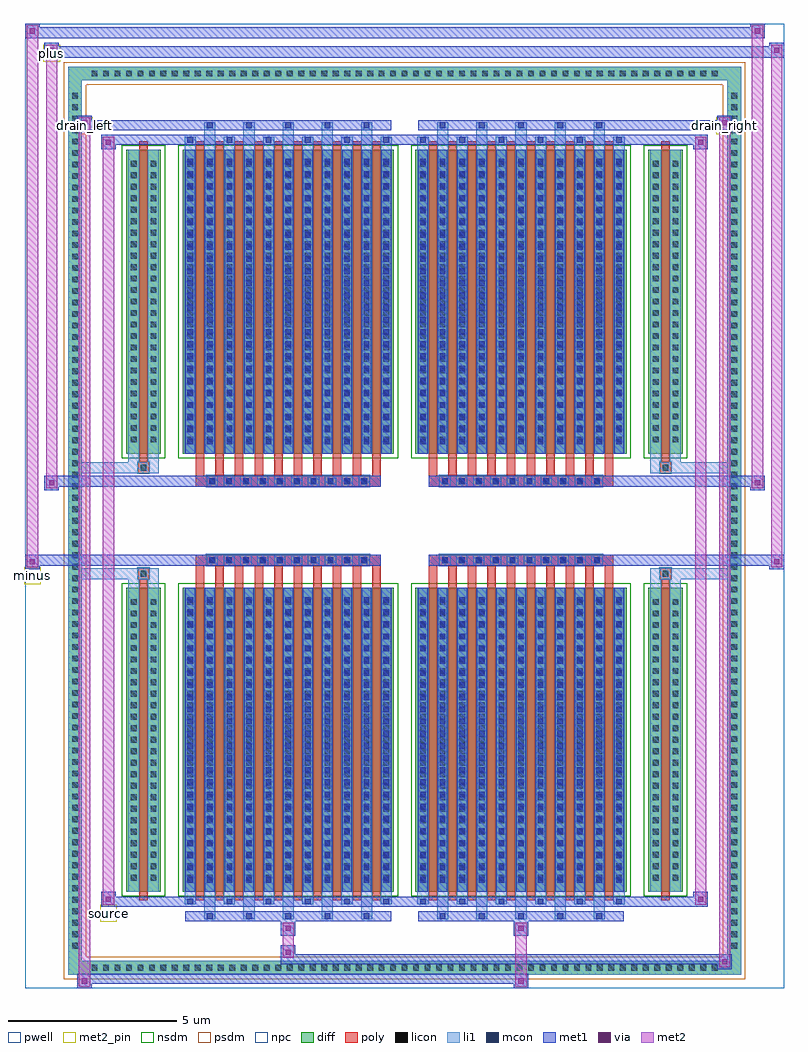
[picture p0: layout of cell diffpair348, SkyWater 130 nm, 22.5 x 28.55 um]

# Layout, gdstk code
import gdstk
lib = gdstk.Library(unit=1e-6, precision=5e-09)
def R(c, l, rs):  # rectangles x0, y0, x1, y1
    for r in rs: c.add(gdstk.rectangle(r[:2], r[2:], *l))
def A(c, l, x, y, w, h, nx, ny, dx, dy):  # array of equal rectangles
    R(c, l, [(x+i*dx, y+j*dy, x+i*dx+w, y+j*dy+h) for i in range(nx) for j in range(ny)])
def P(c, l, *ps):  # polygons
    for p in ps: c.add(gdstk.Polygon(p, *l))
pwell = (64, 44)
diff = (65, 20)
poly = (66, 20)
licon = (66, 44)
li1 = (67, 20)
mcon = (67, 44)
met1 = (68, 20)
via = (68, 44)
met2_pin = (69, 16)
met2 = (69, 20)
nsdm = (93, 44)
psdm = (94, 20)
npc = (95, 20)

diffpair348 = lib.new_cell('diffpair348')
R(diffpair348, pwell, [(-11.23,-13.84,11.23,14.71), (-8.55,-12.03,-0.01,-0.805), (0.01,-12.03,8.55,-0.805), (-8.55,0.805,-0.01,12.03), (0.01,0.805,8.55,12.03)])
A(diffpair348, diff, -9.385, -13.44, 0.41, 0.41, 55, 2, 0.34, 26.47)
A(diffpair348, diff, -9.96, -12.785, 0.41, 0.41, 1, 75, 0, 0.34)
A(diffpair348, diff, 9.55, -12.785, 0.41, 0.41, 1, 75, 0, 0.34)
R(diffpair348, diff, [(-9.385,-13.44,9.385,-13.03), (-9.96,-12.785,-9.55,12.785), (9.55,-12.785,9.96,12.785), (-8.24,-10.985,-7.21,-1.985), (-6.57,-10.985,-0.32,-1.985), (0.32,-10.985,6.57,-1.985), (7.21,-10.985,8.24,-1.985), (-8.24,1.985,-7.21,10.985), (-6.57,1.985,-0.32,10.985), (0.32,1.985,6.57,10.985), (7.21,1.985,8.24,10.985), (-9.385,13.03,9.385,13.44)])
P(diffpair348, diff, [(9.96,13.44),(-9.96,13.44),(-9.96,-13.03),(-9.55,-13.03),(-9.55,13.03),(9.55,13.03),(9.55,-13.03),(-9.55,-13.03),(-9.96,-13.03),(-9.96,-13.44),(9.96,-13.44)])
A(diffpair348, poly, -6.18, -11.235, 0.25, 9.5, 10, 2, 0.58, 12.97)
A(diffpair348, poly, 0.71, -11.235, 0.25, 9.5, 10, 2, 0.58, 12.97)
A(diffpair348, poly, -6.18, -1.735, 0.25, 0.4, 10, 2, 0.58, 3.07)
A(diffpair348, poly, 0.71, -1.735, 0.25, 0.4, 10, 2, 0.58, 3.07)
A(diffpair348, poly, -5.86, -1.335, 0.33, 0.33, 10, 2, 0.5, 2.34)
A(diffpair348, poly, 1.03, -1.335, 0.33, 0.33, 10, 2, 0.5, 2.34)
R(diffpair348, poly, [(-7.85,-11.235,-7.6,-1.735), (7.6,-11.235,7.85,-1.735), (-7.89,-1.735,-7.56,-1.405), (-7.89,-1.735,-7.56,-1.405), (7.56,-1.735,7.89,-1.405), (7.56,-1.735,7.89,-1.405), (-6.18,-1.335,-0.71,-1.005), (0.71,-1.335,6.18,-1.005), (-6.18,1.005,-0.71,1.335), (0.71,1.005,6.18,1.335), (-7.89,1.405,-7.56,1.735), (-7.89,1.405,-7.56,1.735), (7.56,1.405,7.89,1.735), (7.56,1.405,7.89,1.735), (-7.85,1.735,-7.6,11.235), (7.6,1.735,7.85,11.235)])
A(diffpair348, licon, -9.265, -13.32, 0.17, 0.17, 55, 2, 0.34, 26.47)
A(diffpair348, licon, -9.84, -12.665, 0.17, 0.17, 1, 75, 0, 0.34)
A(diffpair348, licon, 9.67, -12.665, 0.17, 0.17, 1, 75, 0, 0.34)
A(diffpair348, licon, -8.1, -10.65, 0.17, 0.17, 1, 25, 0, 0.34)
A(diffpair348, licon, -7.52, -10.65, 0.17, 0.17, 1, 25, 0, 0.34)
A(diffpair348, licon, -6.43, -10.65, 0.17, 0.17, 11, 25, 0.58, 0.34)
A(diffpair348, licon, 0.46, -10.65, 0.17, 0.17, 11, 25, 0.58, 0.34)
A(diffpair348, licon, 7.35, -10.65, 0.17, 0.17, 1, 25, 0, 0.34)
A(diffpair348, licon, 7.93, -10.65, 0.17, 0.17, 1, 25, 0, 0.34)
A(diffpair348, licon, -5.78, -1.255, 0.17, 0.17, 10, 2, 0.5, 2.34)
A(diffpair348, licon, 1.11, -1.255, 0.17, 0.17, 10, 2, 0.5, 2.34)
A(diffpair348, licon, -8.1, 2.32, 0.17, 0.17, 1, 25, 0, 0.34)
A(diffpair348, licon, -7.52, 2.32, 0.17, 0.17, 1, 25, 0, 0.34)
A(diffpair348, licon, -6.43, 2.32, 0.17, 0.17, 11, 25, 0.58, 0.34)
A(diffpair348, licon, 0.46, 2.32, 0.17, 0.17, 11, 25, 0.58, 0.34)
A(diffpair348, licon, 7.35, 2.32, 0.17, 0.17, 1, 25, 0, 0.34)
A(diffpair348, licon, 7.93, 2.32, 0.17, 0.17, 1, 25, 0, 0.34)
R(diffpair348, licon, [(-7.81,-1.655,-7.64,-1.485), (7.64,-1.655,7.81,-1.485), (-7.81,1.485,-7.64,1.655), (7.64,1.485,7.81,1.655)])
A(diffpair348, li1, -9.345, -13.4, 0.33, 0.33, 55, 2, 0.34, 26.47)
A(diffpair348, li1, -9.92, -12.745, 0.33, 0.33, 1, 75, 0, 0.34)
A(diffpair348, li1, 9.59, -12.745, 0.33, 0.33, 1, 75, 0, 0.34)
A(diffpair348, li1, -5.93, -11.79, 0.33, 0.805, 5, 2, 1.16, 22.775)
A(diffpair348, li1, -5.85, -11.79, 0.17, 0.17, 5, 2, 1.16, 23.41)
A(diffpair348, li1, 0.96, -11.79, 0.33, 0.805, 5, 2, 1.16, 22.775)
A(diffpair348, li1, 1.04, -11.79, 0.17, 0.17, 5, 2, 1.16, 23.41)
A(diffpair348, li1, -6.51, -11.36, 0.33, 0.375, 6, 2, 1.16, 22.345)
A(diffpair348, li1, -6.43, -11.36, 0.17, 0.17, 6, 2, 1.16, 22.55)
A(diffpair348, li1, 0.38, -11.36, 0.33, 0.375, 6, 2, 1.16, 22.345)
A(diffpair348, li1, 0.46, -11.36, 0.17, 0.17, 6, 2, 1.16, 22.55)
A(diffpair348, li1, -6.51, -10.985, 0.33, 9, 11, 2, 0.58, 12.97)
A(diffpair348, li1, 0.38, -10.985, 0.33, 9, 11, 2, 0.58, 12.97)
A(diffpair348, li1, -8.18, -10.73, 0.33, 0.33, 1, 25, 0, 0.34)
A(diffpair348, li1, -7.6, -10.73, 0.33, 0.33, 1, 25, 0, 0.34)
A(diffpair348, li1, -6.51, -10.73, 0.33, 0.33, 11, 25, 0.58, 0.34)
A(diffpair348, li1, 0.38, -10.73, 0.33, 0.33, 11, 25, 0.58, 0.34)
A(diffpair348, li1, 7.27, -10.73, 0.33, 0.33, 1, 25, 0, 0.34)
A(diffpair348, li1, 7.85, -10.73, 0.33, 0.33, 1, 25, 0, 0.34)
A(diffpair348, li1, -6.43, -10.71, 0.17, 0.17, 11, 24, 0.58, 0.36)
A(diffpair348, li1, -6.43, -10.71, 0.17, 8.45, 11, 2, 0.58, 12.97)
A(diffpair348, li1, 0.46, -10.71, 0.17, 0.17, 11, 24, 0.58, 0.36)
A(diffpair348, li1, 0.46, -10.71, 0.17, 8.45, 11, 2, 0.58, 12.97)
A(diffpair348, li1, -5.86, -1.335, 0.33, 0.33, 10, 2, 0.5, 2.34)
A(diffpair348, li1, 1.03, -1.335, 0.33, 0.33, 10, 2, 0.5, 2.34)
A(diffpair348, li1, -8.18, 2.24, 0.33, 0.33, 1, 25, 0, 0.34)
A(diffpair348, li1, -7.6, 2.24, 0.33, 0.33, 1, 25, 0, 0.34)
A(diffpair348, li1, -6.51, 2.24, 0.33, 0.33, 11, 25, 0.58, 0.34)
A(diffpair348, li1, 0.38, 2.24, 0.33, 0.33, 11, 25, 0.58, 0.34)
A(diffpair348, li1, 7.27, 2.24, 0.33, 0.33, 1, 25, 0, 0.34)
A(diffpair348, li1, 7.85, 2.24, 0.33, 0.33, 1, 25, 0, 0.34)
A(diffpair348, li1, -6.43, 2.26, 0.17, 0.17, 11, 24, 0.58, 0.36)
A(diffpair348, li1, 0.46, 2.26, 0.17, 0.17, 11, 24, 0.58, 0.36)
R(diffpair348, li1, [(-9.96,-13.44,-9.55,-13.03), (-9.96,-13.44,-9.55,-13.03), (-9.55,-13.44,9.55,-13.03), (9.55,-13.44,9.96,-13.03), (9.55,-13.44,9.96,-13.03), (-9.96,-13.03,-9.55,13.03), (9.55,-13.03,9.96,13.03), (-8.18,-10.985,-7.85,-1.985), (-7.6,-10.985,-7.27,-1.985), (7.27,-10.985,7.6,-1.985), (7.85,-10.985,8.18,-1.985), (-8.18,-1.985,-7.85,-1.405), (-7.6,-1.985,-7.27,-1.405), (7.27,-1.985,7.6,-1.405), (7.85,-1.985,8.18,-1.405), (-9.96,-1.735,-7.89,-1.405), (-8.18,-1.735,-7.89,-1.405), (-7.89,-1.735,-7.56,-1.405), (-7.56,-1.735,-7.27,-1.405), (7.27,-1.735,7.56,-1.405), (7.56,-1.735,7.89,-1.405), (7.56,-1.735,9.96,-1.405), (7.89,-1.735,8.18,-1.405), (-9.96,1.405,-7.89,1.735), (-8.18,1.405,-7.89,1.735), (-8.18,1.405,-7.85,1.985), (-7.89,1.405,-7.56,1.735), (-7.6,1.405,-7.27,1.985), (-7.56,1.405,-7.27,1.735), (7.27,1.405,7.56,1.735), (7.27,1.405,7.6,1.985), (7.56,1.405,7.89,1.735), (7.56,1.405,9.96,1.735), (7.85,1.405,8.18,1.985), (7.89,1.405,8.18,1.735), (-8.18,1.985,-7.85,10.985), (-7.6,1.985,-7.27,10.985), (7.27,1.985,7.6,10.985), (7.85,1.985,8.18,10.985), (-9.96,13.03,-9.55,13.44), (-9.96,13.03,-9.55,13.44), (-9.55,13.03,9.55,13.44), (9.55,13.03,9.96,13.44), (9.55,13.03,9.96,13.44)])
A(diffpair348, mcon, -5.85, -11.79, 0.17, 0.17, 5, 2, 1.16, 23.41)
A(diffpair348, mcon, 1.04, -11.79, 0.17, 0.17, 5, 2, 1.16, 23.41)
A(diffpair348, mcon, -6.43, -11.36, 0.17, 0.17, 6, 2, 1.16, 22.55)
A(diffpair348, mcon, 0.46, -11.36, 0.17, 0.17, 6, 2, 1.16, 22.55)
A(diffpair348, mcon, -6.43, -10.71, 0.17, 0.17, 11, 24, 0.58, 0.36)
A(diffpair348, mcon, 0.46, -10.71, 0.17, 0.17, 11, 24, 0.58, 0.36)
A(diffpair348, mcon, -5.78, -1.255, 0.17, 0.17, 10, 2, 0.5, 2.34)
A(diffpair348, mcon, 1.11, -1.255, 0.17, 0.17, 10, 2, 0.5, 2.34)
A(diffpair348, mcon, -6.43, 2.26, 0.17, 0.17, 11, 24, 0.58, 0.36)
A(diffpair348, mcon, 0.46, 2.26, 0.17, 0.17, 11, 24, 0.58, 0.36)
A(diffpair348, met1, -5.91, -11.85, 0.29, 0.29, 5, 2, 1.16, 23.41)
A(diffpair348, met1, 0.98, -11.85, 0.29, 0.29, 5, 2, 1.16, 23.41)
A(diffpair348, met1, -6.49, -11.42, 0.29, 0.29, 6, 2, 1.16, 22.55)
A(diffpair348, met1, 0.4, -11.42, 0.29, 0.29, 6, 2, 1.16, 22.55)
A(diffpair348, met1, -6.49, -10.985, 0.29, 9, 11, 2, 0.58, 12.97)
A(diffpair348, met1, 0.4, -10.985, 0.29, 9, 11, 2, 0.58, 12.97)
A(diffpair348, met1, -6.49, -10.77, 0.29, 0.29, 11, 24, 0.58, 0.36)
A(diffpair348, met1, 0.4, -10.77, 0.29, 0.29, 11, 24, 0.58, 0.36)
A(diffpair348, met1, -5.84, -1.315, 0.29, 0.29, 10, 2, 0.5, 2.34)
A(diffpair348, met1, 1.05, -1.315, 0.29, 0.29, 10, 2, 0.5, 2.34)
A(diffpair348, met1, -6.49, 2.2, 0.29, 0.29, 11, 24, 0.58, 0.36)
A(diffpair348, met1, 0.4, 2.2, 0.29, 0.29, 11, 24, 0.58, 0.36)
R(diffpair348, met1, [(-9.69,-13.84,-9.26,-13.41), (3.23,-13.84,3.66,-13.41), (-9.69,-13.7,3.66,-13.41), (9.26,-13.27,9.69,-12.84), (-3.66,-13.13,9.69,-12.84), (-3.66,-12.99,-3.23,-12.56), (-3.66,-12.28,-3.23,-11.85), (3.23,-12.28,3.66,-11.85), (-6.49,-11.85,-0.4,-11.56), (0.4,-11.85,6.49,-11.56), (-8.98,-11.42,-8.55,-10.99), (-8.98,-11.42,-6.49,-11.13), (-6.49,-11.42,-0.4,-11.13), (-0.4,-11.42,0.4,-11.13), (0.4,-11.42,6.49,-11.13), (6.49,-11.42,8.98,-11.13), (8.55,-11.42,8.98,-10.99), (-11.23,-1.435,-10.8,-1.005), (10.8,-1.435,11.23,-1.005), (-11.23,-1.335,-0.71,-1.005), (-6.18,-1.335,-0.71,-1.005), (0.71,-1.335,6.18,-1.005), (0.71,-1.335,11.23,-1.005), (-10.66,0.905,-10.23,1.335), (10.23,0.905,10.66,1.335), (-10.66,1.005,-6.18,1.335), (-6.18,1.005,-0.71,1.335), (0.71,1.005,6.18,1.335), (6.18,1.005,10.66,1.335), (-8.98,10.99,-8.55,11.42), (8.55,10.99,8.98,11.42), (-8.98,11.13,-6.49,11.42), (-6.49,11.13,-0.4,11.42), (-0.4,11.13,0.4,11.42), (0.4,11.13,6.49,11.42), (6.49,11.13,8.98,11.42), (-9.69,11.56,-9.26,11.99), (-9.69,11.56,-6.49,11.85), (-6.49,11.56,-0.4,11.85), (0.4,11.56,6.49,11.85), (6.49,11.56,9.69,11.85), (9.26,11.56,9.69,11.99), (-10.66,13.71,-10.23,14.14), (-10.66,13.71,-8.55,14.04), (-8.55,13.71,8.55,14.04), (8.55,13.71,11.23,14.04), (10.8,13.71,11.23,14.14), (-11.23,14.28,-10.8,14.71), (-11.23,14.28,-8.55,14.61), (-8.55,14.28,8.55,14.61), (8.55,14.28,10.66,14.61), (10.23,14.28,10.66,14.71)])
R(diffpair348, via, [(-9.55,-13.7,-9.4,-13.55), (3.37,-13.7,3.52,-13.55), (9.4,-13.13,9.55,-12.98), (-3.52,-12.85,-3.37,-12.7), (-3.52,-12.14,-3.37,-11.99), (3.37,-12.14,3.52,-11.99), (-8.84,-11.28,-8.69,-11.13), (8.69,-11.28,8.84,-11.13), (-11.09,-1.295,-10.94,-1.145), (10.94,-1.295,11.09,-1.145), (-10.52,1.045,-10.37,1.195), (10.37,1.045,10.52,1.195), (-8.84,11.13,-8.69,11.28), (8.69,11.13,8.84,11.28), (-9.55,11.7,-9.4,11.85), (9.4,11.7,9.55,11.85), (-10.52,13.85,-10.37,14), (10.94,13.85,11.09,14), (-11.09,14.42,-10.94,14.57), (10.37,14.42,10.52,14.57)])
R(diffpair348, met2_pin, [(-9.015,-11.87,-8.515,-11.37), (-11.265,-1.885,-10.765,-1.385), (-9.725,11.44,-9.225,11.94), (9.225,11.44,9.725,11.94), (-10.695,13.59,-10.195,14.09)])
R(diffpair348, met2, [(-9.64,-13.79,-9.31,-13.46), (-9.64,-13.79,-9.31,11.94), (3.28,-13.79,3.61,-13.46), (3.28,-13.46,3.61,-12.23), (9.31,-13.22,9.64,-12.89), (9.31,-13.22,9.64,11.94), (-3.61,-12.94,-3.28,-12.61), (-3.61,-12.61,-3.28,-12.23), (-3.61,-12.23,-3.28,-11.9), (3.28,-12.23,3.61,-11.9), (-8.93,-11.37,-8.6,-11.04), (-8.93,-11.37,-8.6,11.37), (8.6,-11.37,8.93,-11.04), (8.6,-11.37,8.93,11.37), (-11.18,-1.385,-10.85,-1.055), (-11.18,-1.385,-10.85,14.66), (10.85,-1.385,11.18,-1.055), (10.85,-1.385,11.18,14.09), (-10.61,0.955,-10.28,1.285), (-10.61,0.955,-10.28,14.09), (10.28,0.955,10.61,1.285), (10.28,0.955,10.61,14.66), (-8.93,11.04,-8.6,11.37), (8.6,11.04,8.93,11.37), (-9.64,11.61,-9.31,11.94), (9.31,11.61,9.64,11.94), (-10.61,13.76,-10.28,14.09), (10.85,13.76,11.18,14.09), (-11.18,14.33,-10.85,14.66), (10.28,14.33,10.61,14.66)])
P(diffpair348, met2, [(11.18,-1.385),(11.18,-1.385),(11.18,-1.055),(11.18,-1.055)],
  [(11.18,13.76),(11.18,13.76),(11.18,14.09),(11.18,14.09)],
  [(-10.85,-1.385),(-10.85,-1.385),(-10.85,-1.055),(-10.85,-1.055)],
  [(-10.85,14.33),(-10.85,14.33),(-10.85,14.66),(-10.85,14.66)],
  [(10.61,0.955),(10.61,0.955),(10.61,1.285),(10.61,1.285)],
  [(10.61,14.33),(10.61,14.33),(10.61,14.66),(10.61,14.66)],
  [(-10.28,0.955),(-10.28,0.955),(-10.28,1.285),(-10.28,1.285)],
  [(-10.28,13.76),(-10.28,13.76),(-10.28,14.09),(-10.28,14.09)],
  [(-9.31,-13.79),(-9.31,-13.79),(-9.31,-13.46),(-9.31,-13.46)],
  [(-9.31,11.61),(-9.31,11.61),(-9.31,11.94),(-9.31,11.94)],
  [(9.64,-13.22),(9.64,-13.22),(9.64,-12.89),(9.64,-12.89)],
  [(9.64,11.61),(9.64,11.61),(9.64,11.94),(9.64,11.94)],
  [(-8.6,-11.37),(-8.6,-11.37),(-8.6,-11.04),(-8.6,-11.04)],
  [(-8.6,11.04),(-8.6,11.04),(-8.6,11.37),(-8.6,11.37)],
  [(8.93,-11.37),(8.93,-11.37),(8.93,-11.04),(8.93,-11.04)],
  [(8.93,11.04),(8.93,11.04),(8.93,11.37),(8.93,11.37)])
R(diffpair348, nsdm, [(-8.37,-11.115,-7.08,-1.855), (-6.7,-11.115,-0.19,-1.855), (0.19,-11.115,6.7,-1.855), (7.08,-11.115,8.37,-1.855), (-8.37,1.855,-7.08,11.115), (-6.7,1.855,-0.19,11.115), (0.19,1.855,6.7,11.115), (7.08,1.855,8.37,11.115)])
P(diffpair348, psdm, [(10.09,13.57),(-10.09,13.57),(-10.09,-12.9),(-9.42,-12.9),(-9.42,12.9),(9.42,12.9),(9.42,-12.9),(-9.42,-12.9),(-10.09,-12.9),(-10.09,-13.57),(10.09,-13.57)])
A(diffpair348, npc, -5.88, -1.355, 0.37, 0.37, 10, 2, 0.5, 2.34)
A(diffpair348, npc, 1.01, -1.355, 0.37, 0.37, 10, 2, 0.5, 2.34)
R(diffpair348, npc, [(-7.91,-1.755,-7.54,-1.385), (7.54,-1.755,7.91,-1.385), (-5.88,-1.355,-5.01,-0.985), (-5.88,-1.355,-5.01,-0.985), (-5.38,-1.355,-4.51,-0.985), (-5.38,-1.355,-4.51,-0.985), (-4.88,-1.355,-4.01,-0.985), (-4.88,-1.355,-4.01,-0.985), (-4.38,-1.355,-3.51,-0.985), (-4.38,-1.355,-3.51,-0.985), (-3.88,-1.355,-3.01,-0.985), (-3.88,-1.355,-3.01,-0.985), (-3.38,-1.355,-2.51,-0.985), (-3.38,-1.355,-2.51,-0.985), (-2.88,-1.355,-2.01,-0.985), (-2.88,-1.355,-2.01,-0.985), (-2.38,-1.355,-1.51,-0.985), (-2.38,-1.355,-1.51,-0.985), (-1.88,-1.355,-1.01,-0.985), (-1.88,-1.355,-1.01,-0.985), (1.01,-1.355,1.88,-0.985), (1.01,-1.355,1.88,-0.985), (1.51,-1.355,2.38,-0.985), (1.51,-1.355,2.38,-0.985), (2.01,-1.355,2.88,-0.985), (2.01,-1.355,2.88,-0.985), (2.51,-1.355,3.38,-0.985), (2.51,-1.355,3.38,-0.985), (3.01,-1.355,3.88,-0.985), (3.01,-1.355,3.88,-0.985), (3.51,-1.355,4.38,-0.985), (3.51,-1.355,4.38,-0.985), (4.01,-1.355,4.88,-0.985), (4.01,-1.355,4.88,-0.985), (4.51,-1.355,5.38,-0.985), (4.51,-1.355,5.38,-0.985), (5.01,-1.355,5.88,-0.985), (5.01,-1.355,5.88,-0.985), (-5.88,0.985,-5.01,1.355), (-5.88,0.985,-5.01,1.355), (-5.38,0.985,-4.51,1.355), (-5.38,0.985,-4.51,1.355), (-4.88,0.985,-4.01,1.355), (-4.88,0.985,-4.01,1.355), (-4.38,0.985,-3.51,1.355), (-4.38,0.985,-3.51,1.355), (-3.88,0.985,-3.01,1.355), (-3.88,0.985,-3.01,1.355), (-3.38,0.985,-2.51,1.355), (-3.38,0.985,-2.51,1.355), (-2.88,0.985,-2.01,1.355), (-2.88,0.985,-2.01,1.355), (-2.38,0.985,-1.51,1.355), (-2.38,0.985,-1.51,1.355), (-1.88,0.985,-1.01,1.355), (-1.88,0.985,-1.01,1.355), (1.01,0.985,1.88,1.355), (1.01,0.985,1.88,1.355), (1.51,0.985,2.38,1.355), (1.51,0.985,2.38,1.355), (2.01,0.985,2.88,1.355), (2.01,0.985,2.88,1.355), (2.51,0.985,3.38,1.355), (2.51,0.985,3.38,1.355), (3.01,0.985,3.88,1.355), (3.01,0.985,3.88,1.355), (3.51,0.985,4.38,1.355), (3.51,0.985,4.38,1.355), (4.01,0.985,4.88,1.355), (4.01,0.985,4.88,1.355), (4.51,0.985,5.38,1.355), (4.51,0.985,5.38,1.355), (5.01,0.985,5.88,1.355), (5.01,0.985,5.88,1.355), (-7.91,1.385,-7.54,1.755), (7.54,1.385,7.91,1.755)])
diffpair348.add(gdstk.Label('minus', (-11.015,-1.635), layer=69, texttype=5))
diffpair348.add(gdstk.Label('drain_right', (9.475,11.69), layer=69, texttype=5))
diffpair348.add(gdstk.Label('drain_left', (-9.475,11.69), layer=69, texttype=5))
diffpair348.add(gdstk.Label('source', (-8.765,-11.62), layer=69, texttype=5))
diffpair348.add(gdstk.Label('plus', (-10.445,13.84), layer=69, texttype=5))

lib.write_gds('diffpair348.gds')
